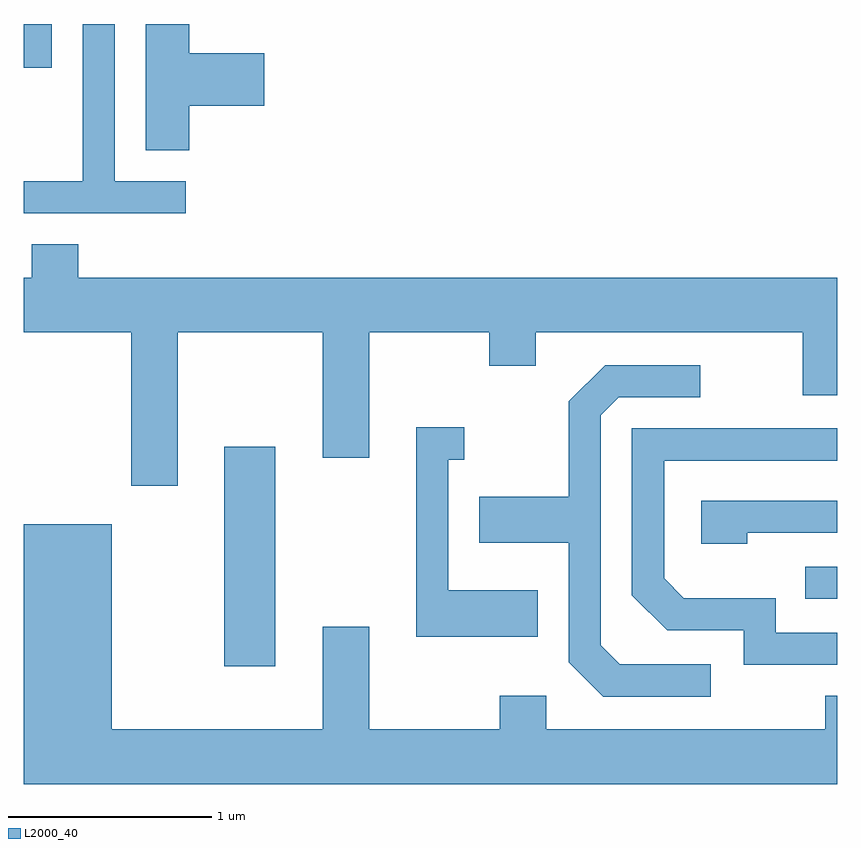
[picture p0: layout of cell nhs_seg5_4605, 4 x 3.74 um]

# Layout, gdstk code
import gdstk
lib = gdstk.Library(unit=1e-6, precision=1e-09)
def R(c, l, rs):  # rectangles x0, y0, x1, y1
    for r in rs: c.add(gdstk.rectangle(r[:2], r[2:], *l))
def P(c, l, *ps):  # polygons
    for p in ps: c.add(gdstk.Polygon(p, *l))
L2000_40 = (2000, 40)

nhs_seg5_4605 = lib.new_cell('nhs_seg5_4605')
R(nhs_seg5_4605, L2000_40, [(322.596,1472.916,322.849,1473.994), (325.453,1473.246,325.611,1473.404), (321.611,1475.856,321.749,1476.072)])
P(nhs_seg5_4605, L2000_40, [(322.424,1475.671),(322.794,1475.671),(322.794,1475.929),(322.424,1475.929),(322.424,1476.072),(322.211,1476.072),(322.211,1475.451),(322.424,1475.451)],
  [(322.408,1475.299),(322.059,1475.299),(322.059,1476.072),(321.901,1476.072),(321.901,1475.299),(321.611,1475.299),(321.611,1475.141),(322.408,1475.141)],
  [(322.369,1474.556),(323.081,1474.556),(323.081,1473.941),(323.309,1473.941),(323.309,1474.556),(323.901,1474.556),(323.901,1474.391),(324.129,1474.391),(324.129,1474.556),(325.441,1474.556),(325.441,1474.246),(325.611,1474.246),(325.611,1474.824),(321.879,1474.824),(321.879,1474.989),(321.651,1474.989),(321.651,1474.824),(321.611,1474.824),(321.611,1474.556),(322.141,1474.556),(322.141,1473.801),(322.369,1473.801)],
  [(324.988,1472.924),(324.542,1472.924),(324.449,1473.017),(324.449,1474.149),(324.537,1474.236),(324.938,1474.236),(324.938,1474.394),(324.469,1474.394),(324.291,1474.217),(324.291,1473.749),(323.851,1473.749),(323.851,1473.521),(324.291,1473.521),(324.291,1472.934),(324.459,1472.766),(324.988,1472.766)],
  [(324.139,1473.289),(323.699,1473.289),(323.699,1473.931),(323.778,1473.931),(323.778,1474.089),(323.541,1474.089),(323.541,1473.061),(324.139,1473.061)],
  [(325.611,1473.079),(325.309,1473.079),(325.309,1473.249),(324.857,1473.249),(324.759,1473.347),(324.759,1473.926),(325.611,1473.926),(325.611,1474.084),(324.601,1474.084),(324.601,1473.264),(324.774,1473.091),(325.151,1473.091),(325.151,1472.921),(325.611,1472.921)],
  [(325.169,1473.571),(325.611,1473.571),(325.611,1473.729),(324.941,1473.729),(324.941,1473.516),(325.169,1473.516)],
  [(325.611,1472.769),(325.551,1472.769),(325.551,1472.604),(324.179,1472.604),(324.179,1472.769),(323.951,1472.769),(323.951,1472.604),(323.309,1472.604),(323.309,1473.109),(323.081,1473.109),(323.081,1472.604),(322.044,1472.604),(322.044,1473.614),(321.611,1473.614),(321.611,1472.336),(325.611,1472.336)])

lib.write_gds('nhs_seg5_4605.gds')
